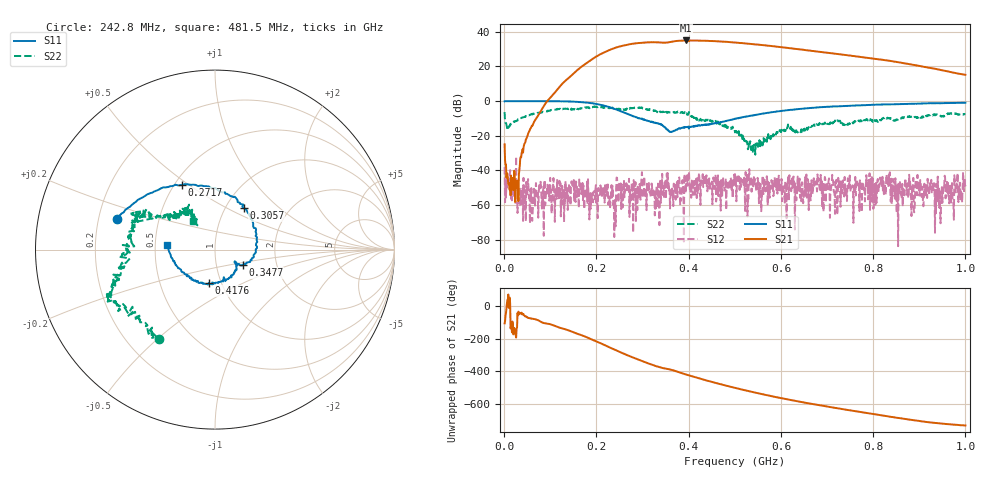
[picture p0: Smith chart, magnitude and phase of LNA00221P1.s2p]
! Created with skrf 1.9.0 (http://scikit-rf.org).
# Hz S RI R 50.0
!freq ReS11 ImS11 ReS21 ImS21 ReS12 ImS12 ReS22 ImS22
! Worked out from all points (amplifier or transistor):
!   1001 points, 1 MHz to 1 GHz, reference 50 ohm
!   highest |S21| = 34.9 dB at 394.6 MHz (marker M1)
!   |S21| within 3 dB of that: 257.5 MHz to 572 MHz (314.5 MHz wide, 75.8 % of centre)
!   unconditionally stable (mu >= 1): start of sweep to 86.9 MHz; 299 MHz to 400.5 MHz; 400.6 MHz to end of sweep (the widest 3 of 29)
!   at 166.8 MHz: K = 1.63, MAG = 31.9 dB, |S12| = -53.6 dB
!   at 500.5 MHz: K = 1.32, MAG = 34.6 dB, |S12| = -42.1 dB
!   at 1 GHz: K = 4.03, MAG = 22.7 dB, |S12| = -48.3 dB
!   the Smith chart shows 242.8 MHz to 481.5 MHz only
!   S11 on the Smith chart (normalised r, x): 242.8 MHz: 0.28, +0.14; 271.7 MHz: 0.55, +0.47; 305.7 MHz: 1.21, +0.61; 347.7 MHz: 1.34, -0.23; 417.6 MHz: 0.87, -0.34; 481.5 MHz: 0.58, +0.03
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1000000  0.9809 0.00454  -0.014 -0.0551  -0.0125 -0.000611  0.3283 0.3531
1.08892e8  0.5117 -0.8488  -0.8039 -1.503  -0.000996 0.00187  0.4217 -0.3737
1.67833e8  -0.2544 -0.893  -9.789 -0.503  0.00303 0.000813  0.0379 -0.6252
2.09791e8  -0.6834 -0.3637  -15.39 16.73  0.00182 -0.00224  -0.1984 -0.6277
2.42758e8  -0.5472 0.1726  0.1954 34.72  -0.00256 0.0016  -0.3147 -0.4981
2.71729e8  -0.1826 0.361  25.23 34.94  -0.000232 0.000395  -0.495 -0.3222
3.05695e8  0.1592 0.233  46.34 13.5  -0.0015 -0.000623  -0.5555 -0.2006
3.34666e8  0.2278 -0.0154  47.95 -10.44  -0.00231 0.00259  -0.5084 -0.0187
3.47653e8  0.1546 -0.0844  44.69 -17.75  0.00138 0.00181  -0.514 0.0254
3.7063e8  0.1192 -0.0761  42.58 -32.16  -0.00397 -0.00161  -0.428 0.1574
3.94606e8  0.0733 -0.1632  28.34 -47.96  0.00221 0.00445  -0.3888 0.209
4.17583e8  -0.0339 -0.1864  10.51 -54.19  0.00159 0.000191  -0.2654 0.1878
4.46554e8  -0.1689 -0.1363  -11.28 -52.76  0.00265 0.00273  -0.1771 0.2251
4.81519e8  -0.2662 0.0231  -31.52 -39.92  0.000628 0.000382  -0.1215 0.158
5.005e8  -0.2816 0.1299  -38.38 -30.1  0.00438 0.00651  -0.0573 0.1113
5.4046e8  -0.2001 0.3347  -42.57 -8.839  0.00248 -0.00247  -0.0256 0.0458
5.88412e8  0.0105 0.496  -35.49 11.66  0.00488 -0.00327  -0.0864 -0.0748
6.67333e8  0.3956 0.4991  -13.45 24.26  0.00116 -0.00463  -0.1917 -0.0268
7.53247e8  0.6802 0.2835  4.138 19.7  0.00227 -0.00253  -0.2249 0.00699
8.34166e8  0.7986 0.0161  10.85 9.676  -0.00758 -0.000955  -0.3231 -0.0166
9.16084e8  0.815 -0.2722  9.296 1.282  -0.00269 -0.00182  -0.3608 0.1256
1e9  0.7255 -0.5249  5.555 -1.32  -0.000443 -0.00382  -0.3312 0.2542
